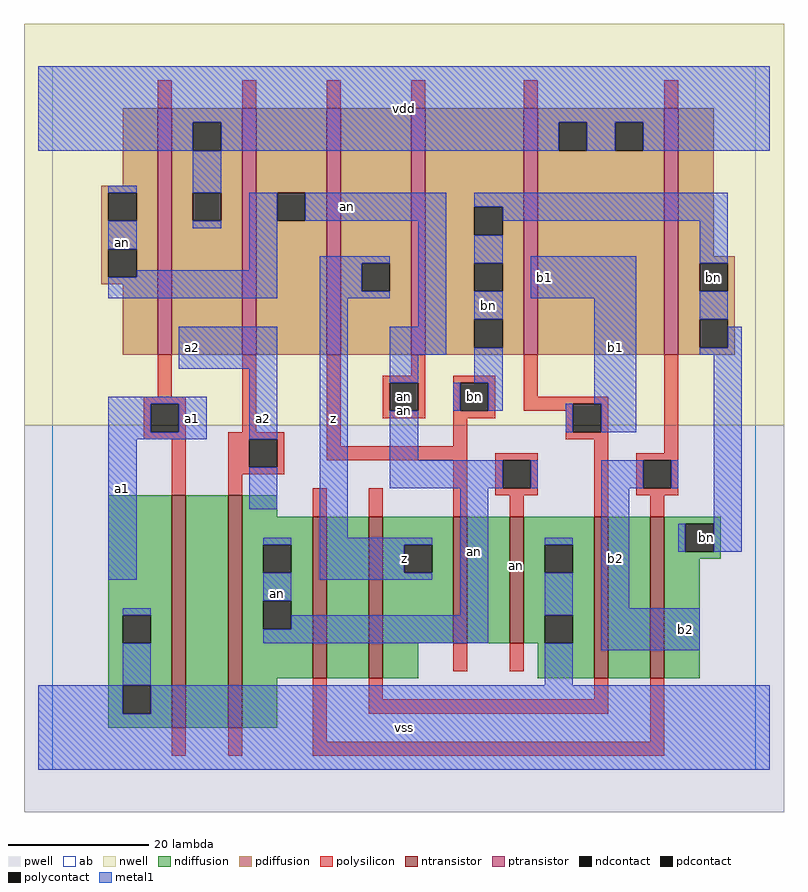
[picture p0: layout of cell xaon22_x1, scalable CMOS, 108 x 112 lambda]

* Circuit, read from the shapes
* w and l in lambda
.subckt xaon22_x1 a1 a2 an b1 b2 bn vdd vss z
M1 n1 a1 vss VSUBS nfet w=33 l=2
M2 an a2 n1 VSUBS nfet w=33 l=2
M3 n2 b2 an VSUBS nfet w=23 l=2
M4 z b1 n2 VSUBS nfet w=23 l=2
M5 n3 bn z VSUBS nfet w=18 l=2
M6 vss an n3 VSUBS nfet w=18 l=2
M7 n4 b1 vss VSUBS nfet w=23 l=2
M8 bn b2 n4 VSUBS nfet w=23 l=2
M9 vdd a1 an n5 pfet w=35 l=2
M10 an a2 vdd n5 pfet w=35 l=2
M11 z bn an n5 pfet w=35 l=2
M12 bn an z n5 pfet w=35 l=2
M13 vdd b1 bn n5 pfet w=35 l=2
M14 bn b2 vdd n5 pfet w=35 l=2
.ends

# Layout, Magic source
magic
tech scmos
<< ab >>
rect 0 0 100 100
<< pwell >>
rect -4 -6 104 49
<< nwell >>
rect -4 49 104 106
<< polysilicon >>
rect 15 94 17 98
rect 27 94 29 98
rect 39 94 41 98
rect 51 94 53 98
rect 67 94 69 98
rect 87 94 89 98
rect 15 53 17 59
rect 13 52 19 53
rect 13 48 14 52
rect 18 48 19 52
rect 27 48 29 59
rect 13 47 19 48
rect 17 39 19 47
rect 25 47 33 48
rect 25 43 28 47
rect 32 43 33 47
rect 39 46 41 59
rect 51 56 53 59
rect 47 55 53 56
rect 47 51 48 55
rect 52 51 53 55
rect 47 50 53 51
rect 57 55 63 56
rect 57 51 58 55
rect 62 51 63 55
rect 67 53 69 59
rect 67 52 79 53
rect 67 51 74 52
rect 57 50 63 51
rect 57 46 59 50
rect 73 48 74 51
rect 78 48 79 52
rect 73 47 79 48
rect 39 44 59 46
rect 25 42 33 43
rect 25 39 27 42
rect 37 36 39 40
rect 45 36 47 40
rect 57 36 59 44
rect 63 44 69 45
rect 63 40 64 44
rect 68 40 69 44
rect 63 39 69 40
rect 65 36 67 39
rect 77 36 79 47
rect 87 45 89 59
rect 83 44 89 45
rect 83 40 84 44
rect 88 40 89 44
rect 83 39 89 40
rect 85 36 87 39
rect 57 14 59 18
rect 65 14 67 18
rect 17 2 19 6
rect 25 2 27 6
rect 37 4 39 13
rect 45 10 47 13
rect 77 10 79 13
rect 45 8 79 10
rect 85 4 87 13
rect 37 2 87 4
<< ndiffusion >>
rect 8 22 17 39
rect 8 18 10 22
rect 14 18 17 22
rect 8 12 17 18
rect 8 8 10 12
rect 14 8 17 12
rect 8 6 17 8
rect 19 6 25 39
rect 27 36 32 39
rect 27 32 37 36
rect 27 28 30 32
rect 34 28 37 32
rect 27 24 37 28
rect 27 20 30 24
rect 34 20 37 24
rect 27 13 37 20
rect 39 13 45 36
rect 47 32 57 36
rect 47 28 50 32
rect 54 28 57 32
rect 47 18 57 28
rect 59 18 65 36
rect 67 32 77 36
rect 67 28 70 32
rect 74 28 77 32
rect 67 22 77 28
rect 67 18 70 22
rect 74 18 77 22
rect 47 13 52 18
rect 69 13 77 18
rect 79 13 85 36
rect 87 35 95 36
rect 87 31 90 35
rect 94 31 95 35
rect 87 30 95 31
rect 87 13 92 30
rect 27 6 32 13
<< pdiffusion >>
rect 10 83 15 94
rect 7 82 15 83
rect 7 78 8 82
rect 12 78 15 82
rect 7 74 15 78
rect 7 70 8 74
rect 12 70 15 74
rect 7 69 15 70
rect 10 59 15 69
rect 17 92 27 94
rect 17 88 20 92
rect 24 88 27 92
rect 17 82 27 88
rect 17 78 20 82
rect 24 78 27 82
rect 17 59 27 78
rect 29 82 39 94
rect 29 78 32 82
rect 36 78 39 82
rect 29 59 39 78
rect 41 72 51 94
rect 41 68 44 72
rect 48 68 51 72
rect 41 59 51 68
rect 53 80 67 94
rect 53 76 60 80
rect 64 76 67 80
rect 53 72 67 76
rect 53 68 60 72
rect 64 68 67 72
rect 53 64 67 68
rect 53 60 60 64
rect 64 60 67 64
rect 53 59 67 60
rect 69 92 87 94
rect 69 88 72 92
rect 76 88 80 92
rect 84 88 87 92
rect 69 59 87 88
rect 89 73 94 94
rect 89 72 97 73
rect 89 68 92 72
rect 96 68 97 72
rect 89 64 97 68
rect 89 60 92 64
rect 96 60 97 64
rect 89 59 97 60
<< metal1 >>
rect -2 92 102 100
rect -2 88 20 92
rect 24 88 72 92
rect 76 88 80 92
rect 84 88 102 92
rect 8 82 12 83
rect 8 74 12 78
rect 20 82 24 88
rect 20 77 24 78
rect 28 71 32 82
rect 36 78 56 82
rect 12 70 32 71
rect 8 67 32 70
rect 38 72 48 73
rect 38 68 44 72
rect 38 67 48 68
rect 18 57 32 63
rect 8 52 22 53
rect 8 48 14 52
rect 18 48 22 52
rect 8 47 22 48
rect 28 47 32 57
rect 8 27 12 47
rect 28 37 32 43
rect 38 33 42 67
rect 52 63 56 78
rect 48 59 56 63
rect 60 80 96 82
rect 64 78 96 80
rect 60 72 64 76
rect 60 64 64 68
rect 68 67 83 73
rect 48 55 52 59
rect 60 55 64 60
rect 57 51 58 55
rect 62 51 64 55
rect 77 52 83 67
rect 92 72 96 78
rect 92 64 96 68
rect 96 60 98 63
rect 92 59 98 60
rect 48 44 52 51
rect 73 48 74 52
rect 78 48 83 52
rect 48 40 64 44
rect 68 40 69 44
rect 78 40 84 44
rect 88 40 89 44
rect 30 32 34 33
rect 30 24 34 28
rect 38 32 54 33
rect 38 28 50 32
rect 38 27 54 28
rect 10 22 14 23
rect 58 22 62 40
rect 34 20 62 22
rect 30 18 62 20
rect 70 32 74 33
rect 70 22 74 28
rect 10 12 14 18
rect 70 12 74 18
rect 78 23 82 40
rect 89 31 90 35
rect 94 31 98 59
rect 78 17 92 23
rect -2 8 10 12
rect 14 8 102 12
rect -2 0 102 8
<< ntransistor >>
rect 17 6 19 39
rect 25 6 27 39
rect 37 13 39 36
rect 45 13 47 36
rect 57 18 59 36
rect 65 18 67 36
rect 77 13 79 36
rect 85 13 87 36
<< ptransistor >>
rect 15 59 17 94
rect 27 59 29 94
rect 39 59 41 94
rect 51 59 53 94
rect 67 59 69 94
rect 87 59 89 94
<< polycontact >>
rect 14 48 18 52
rect 28 43 32 47
rect 48 51 52 55
rect 58 51 62 55
rect 74 48 78 52
rect 64 40 68 44
rect 84 40 88 44
<< ndcontact >>
rect 10 18 14 22
rect 10 8 14 12
rect 30 28 34 32
rect 30 20 34 24
rect 50 28 54 32
rect 70 28 74 32
rect 70 18 74 22
rect 90 31 94 35
<< pdcontact >>
rect 8 78 12 82
rect 8 70 12 74
rect 20 88 24 92
rect 20 78 24 82
rect 32 78 36 82
rect 44 68 48 72
rect 60 76 64 80
rect 60 68 64 72
rect 60 60 64 64
rect 72 88 76 92
rect 80 88 84 92
rect 92 68 96 72
rect 92 60 96 64
<< labels >>
rlabel ntransistor 66 29 66 29 6 an
rlabel polycontact 60 53 60 53 6 bn
rlabel polycontact 50 53 50 53 6 an
rlabel metal1 10 40 10 40 6 a1
rlabel metal1 10 40 10 40 6 a1
rlabel metal1 10 75 10 75 6 an
rlabel metal1 32 25 32 25 6 an
rlabel metal1 20 50 20 50 6 a1
rlabel metal1 20 50 20 50 6 a1
rlabel metal1 30 50 30 50 6 a2
rlabel metal1 30 50 30 50 6 a2
rlabel metal1 20 60 20 60 6 a2
rlabel metal1 20 60 20 60 6 a2
rlabel metal1 50 6 50 6 6 vss
rlabel metal1 50 6 50 6 6 vss
rlabel metal1 50 30 50 30 6 z
rlabel metal1 50 30 50 30 6 z
rlabel metal1 40 50 40 50 6 z
rlabel metal1 40 50 40 50 6 z
rlabel metal1 50 51 50 51 6 an
rlabel metal1 42 80 42 80 6 an
rlabel metal1 50 94 50 94 6 vdd
rlabel metal1 50 94 50 94 6 vdd
rlabel metal1 60 31 60 31 6 an
rlabel metal1 70 70 70 70 6 b1
rlabel metal1 70 70 70 70 6 b1
rlabel metal1 62 66 62 66 6 bn
rlabel metal1 90 20 90 20 6 b2
rlabel metal1 90 20 90 20 6 b2
rlabel metal1 80 30 80 30 6 b2
rlabel metal1 80 30 80 30 6 b2
rlabel ndcontact 93 33 93 33 6 bn
rlabel metal1 80 60 80 60 6 b1
rlabel metal1 80 60 80 60 6 b1
rlabel pdcontact 94 70 94 70 6 bn
<< end >>
